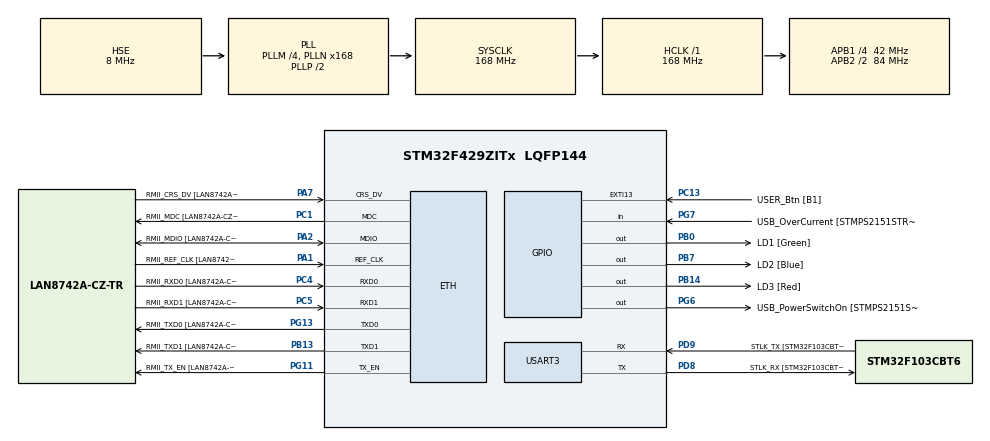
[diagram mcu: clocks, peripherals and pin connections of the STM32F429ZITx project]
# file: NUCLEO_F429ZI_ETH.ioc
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ETH.MediaInterface=HAL_ETH_RMII_MODE
ETH.PHY_SR=0x1F
FREERTOS.Tasks01=defaultTask,24,1024,StartDefaultTask,Default,NULL,Dynamic,NULL,NULL
LWIP.BSP.number=1
LWIP.GATEWAY_ADDRESS=192.168.001.122
LWIP.IP_ADDRESS=192.168.001.017
LWIP.LWIP_DHCP=0
LWIP.NETMASK_ADDRESS=255.255.254.000
LWIP.Version=v2.1.2_Cube
LWIP0.BSP.STBoard=false
LWIP0.BSP.api=BSP_COMPONENT_DRIVER
LWIP0.BSP.component=LAN8742
LWIP0.BSP.instance=LAN8742
LWIP0.BSP.name=Driver_PHY
LWIP0.BSP.semaphore=S_LAN8742
LWIP0.BSP.solution=LAN8742
Mcu.Family=STM32F4
Mcu.Name=STM32F429ZITx
Mcu.Package=LQFP144
NVIC.ETH_IRQn=true\:5\:0\:false\:false\:true\:true\:false\:true\:true
NVIC.PriorityGroup=NVIC_PRIORITYGROUP_4
NVIC.TIM6_DAC_IRQn=true\:15\:0\:false\:false\:true\:false\:false\:true\:true
NVIC.TimeBase=TIM6_DAC_IRQn
NVIC.TimeBaseIP=TIM6
PA1.GPIO_Label=RMII_REF_CLK [LAN8742A-CZ-TR_REFCLK0]
PA1.Mode=RMII
PA1.Signal=ETH_REF_CLK
PA10.GPIO_Label=USB_ID
PA10.Signal=USB_OTG_FS_ID
PA11.GPIO_Label=USB_DM
PA11.Signal=USB_OTG_FS_DM
PA12.GPIO_Label=USB_DP
PA12.Signal=USB_OTG_FS_DP
PA13.GPIO_Label=TMS
PA13.Mode=Serial_Wire
PA13.Signal=SYS_JTMS-SWDIO
PA14.GPIO_Label=TCK
PA14.Mode=Serial_Wire
PA14.Signal=SYS_JTCK-SWCLK
PA2.GPIO_Label=RMII_MDIO [LAN8742A-CZ-TR_MDIO]
PA2.Mode=RMII
PA2.Signal=ETH_MDIO
PA7.GPIO_Label=RMII_CRS_DV [LAN8742A-CZ-TR_CRS_DV]
PA7.Mode=RMII
PA7.Signal=ETH_CRS_DV
PA8.GPIO_Label=USB_SOF [TP1]
PA8.Signal=USB_OTG_FS_SOF
PA9.GPIO_Label=USB_VBUS
PA9.Signal=USB_OTG_FS_VBUS
PB0.GPIO_Label=LD1 [Green]
PB0.Signal=GPIO_Output
PB13.GPIO_Label=RMII_TXD1 [LAN8742A-CZ-TR_TXD1]
PB13.Mode=RMII
PB13.Signal=ETH_TXD1
PB14.GPIO_Label=LD3 [Red]
PB14.Signal=GPIO_Output
PB7.GPIO_Label=LD2 [Blue]
PB7.Signal=GPIO_Output
PC1.GPIO_Label=RMII_MDC [LAN8742A-CZ-TR_MDC]
PC1.Mode=RMII
PC1.Signal=ETH_MDC
PC13.GPIO_Label=USER_Btn [B1]
PC13.Signal=GPXTI13
PC14/OSC32_IN.Mode=LSE-External-Oscillator
PC14/OSC32_IN.Signal=RCC_OSC32_IN
PC15/OSC32_OUT.Mode=LSE-External-Oscillator
PC15/OSC32_OUT.Signal=RCC_OSC32_OUT
PC4.GPIO_Label=RMII_RXD0 [LAN8742A-CZ-TR_RXD0]
PC4.Mode=RMII
PC4.Signal=ETH_RXD0
PC5.GPIO_Label=RMII_RXD1 [LAN8742A-CZ-TR_RXD1]
PC5.Mode=RMII
PC5.Signal=ETH_RXD1
PD8.GPIO_Label=STLK_RX [STM32F103CBT6_PA3]
PD8.Mode=Asynchronous
PD8.Signal=USART3_TX
PD9.GPIO_Label=STLK_TX [STM32F103CBT6_PA2]
PD9.Mode=Asynchronous
PD9.Signal=USART3_RX
PG11.GPIO_Label=RMII_TX_EN [LAN8742A-CZ-TR_TXEN]
PG11.Mode=RMII
PG11.Signal=ETH_TX_EN
PG13.GPIO_Label=RMII_TXD0 [LAN8742A-CZ-TR_TXD0]
PG13.Mode=RMII
PG13.Signal=ETH_TXD0
PG6.GPIO_Label=USB_PowerSwitchOn [STMPS2151STR_EN]
PG6.Signal=GPIO_Output
PG7.GPIO_Label=USB_OverCurrent [STMPS2151STR_FAULT]
PG7.Signal=GPIO_Input
PH0/OSC_IN.GPIO_Label=MCO [STM32F103CBT6_PA8]
PH0/OSC_IN.Mode=HSE-External-Clock-Source
PH0/OSC_IN.Signal=RCC_OSC_IN
PH1/OSC_OUT.Mode=HSE-External-Clock-Source
PH1/OSC_OUT.Signal=RCC_OSC_OUT
ProjectManager.HeapSize=0x800
ProjectManager.StackSize=0x400
ProjectManager.TargetToolchain=Makefile
RCC.48MHZClocksFreq_Value=48000000
RCC.AHBFreq_Value=168000000
RCC.APB1CLKDivider=RCC_HCLK_DIV4
RCC.APB1Freq_Value=42000000
RCC.APB1TimFreq_Value=84000000
RCC.APB2CLKDivider=RCC_HCLK_DIV2
RCC.APB2Freq_Value=84000000
RCC.APB2TimCLKDivider=2
RCC.APB2TimFreq_Value=168000000
RCC.CortexFreq_Value=168000000
RCC.HCLKFreq_Value=168000000
RCC.HSE_VALUE=8000000
RCC.HSI_VALUE=16000000
RCC.PLLM=4
RCC.PLLMUL=RCC_PLL_MUL9
RCC.PLLN=168
RCC.PLLQ=7
RCC.PLLSourceVirtual=RCC_PLLSOURCE_HSE
RCC.PRESCALERUSB=RCC_USBCLKSOURCE_PLL_DIV1_5
RCC.SYSCLKFreq_VALUE=168000000
RCC.SYSCLKSource=RCC_SYSCLKSOURCE_PLLCLK
RCC.SYSCLKSourceVirtual=RCC_SYSCLKSOURCE_PLLCLK
RCC.USBFreq_Value=48000000
RCC.VCOOutputFreq_Value=336000000
USART3.VirtualMode=VM_ASYNC
VP_FREERTOS_VS_CMSIS_V2.Mode=CMSIS_V2
VP_LWIP_VS_Enabled.Mode=Enabled
VP_SYS_VS_tim6.Mode=TIM6
board=NUCLEO-F429ZI

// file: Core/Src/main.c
/* USER CODE BEGIN Header */
/**
  ******************************************************************************
  * @file           : main.c
  * @brief          : Main program body
  ******************************************************************************
  * @attention
  *
  * Copyright (c) 2022 STMicroelectronics.
  * All rights reserved.
  *
  * This software is licensed under terms that can be found in the LICENSE file
  * in the root directory of this software component.
  * If no LICENSE file comes with this software, it is provided AS-IS.
  *
  ******************************************************************************
  */
/* USER CODE END Header */
#include "main.h"
#include "cmsis_os.h"
#include "lwip.h"

/* USER CODE BEGIN Includes */
#include "tcp_echoserver.h"
#include "queue.h"
#include "mqttclient.h"
/* USER CODE END Includes */

/* USER CODE BEGIN PD */
#define  MQTT_QUEUE_LEN    4   /* 队列的长度，最大可包含多少个消息 */
#define  MQTT_QUEUE_SIZE   4   /* 队列中每个消息大小（字节） */
/* USER CODE END PD */

UART_HandleTypeDef huart3;

/* Definitions for defaultTask */
osThreadId_t defaultTaskHandle;
const osThreadAttr_t defaultTask_attributes = {
  .name = "defaultTask",
  .stack_size = 1024 * 4,
  .priority = (osPriority_t) osPriorityNormal,
};
/* USER CODE BEGIN PV */
QueueHandle_t MQTT_Data_Queue;
/* USER CODE END PV */

void SystemClock_Config(void);
static void MX_GPIO_Init(void);
static void MX_USART3_UART_Init(void);
void StartDefaultTask(void *argument);

/* USER CODE BEGIN 0 */
#ifdef __GNUC__
int _write(int file, char *ptr, int len)
{
   int i=0;
   for(i=0 ; i<len ; i++)
      ITM_SendChar((*ptr++));
   return len;
}
#else
int fputc(int c, FILE *f)
{
   ITM_SendChar(c);
   return(c);
}
#endif
/* USER CODE END 0 */

int main(void)
{

  /* MCU Configuration--------------------------------------------------------*/

  /* Reset of all peripherals, Initializes the Flash interface and the Systick. */
  HAL_Init();

  /* Configure the system clock */
  SystemClock_Config();

  /* Initialize all configured peripherals */
  MX_GPIO_Init();
  MX_USART3_UART_Init();
  /* USER CODE BEGIN 2 */
  // tcp_echoserver_init();
  /* USER CODE END 2 */

  /* Init scheduler */
  osKernelInitialize();

  /* USER CODE BEGIN RTOS_QUEUES */
  /* add queues, ... */

  MQTT_Data_Queue = xQueueCreate((UBaseType_t ) MQTT_QUEUE_LEN, (UBaseType_t ) MQTT_QUEUE_SIZE);
  if(NULL != MQTT_Data_Queue)
    printf("MQTT_Data_Queue created successfully!\r\n");
  /* USER CODE END RTOS_QUEUES */

  /* Create the thread(s) */
  /* creation of defaultTask */
  defaultTaskHandle = osThreadNew(StartDefaultTask, NULL, &defaultTask_attributes);

  /* Start scheduler */
  osKernelStart();

  /* We should never get here as control is now taken by the scheduler */
  /* Infinite loop */
  /* USER CODE BEGIN WHILE */
  while (1)
  {
    // MX_LWIP_Process();
    // HAL_GPIO_TogglePin(LD1_GPIO_Port, LD1_Pin);
    // HAL_Delay(200);
    /* USER CODE END WHILE */

  }
}

void SystemClock_Config(void)
{
  RCC_OscInitTypeDef RCC_OscInitStruct = {0};
  RCC_ClkInitTypeDef RCC_ClkInitStruct = {0};

  /** Configure the main internal regulator output voltage
  */
  __HAL_RCC_PWR_CLK_ENABLE();
  __HAL_PWR_VOLTAGESCALING_CONFIG(PWR_REGULATOR_VOLTAGE_SCALE1);

  /** Initializes the RCC Oscillators according to the specified parameters
  * in the RCC_OscInitTypeDef structure.
  */
  RCC_OscInitStruct.OscillatorType = RCC_OSCILLATORTYPE_HSE;
  RCC_OscInitStruct.HSEState = RCC_HSE_BYPASS;
  RCC_OscInitStruct.PLL.PLLState = RCC_PLL_ON;
  RCC_OscInitStruct.PLL.PLLSource = RCC_PLLSOURCE_HSE;
  RCC_OscInitStruct.PLL.PLLM = 4;
  RCC_OscInitStruct.PLL.PLLN = 168;
  RCC_OscInitStruct.PLL.PLLP = RCC_PLLP_DIV2;
  RCC_OscInitStruct.PLL.PLLQ = 7;
  if (HAL_RCC_OscConfig(&RCC_OscInitStruct) != HAL_OK)
  {
    Error_Handler();
  }

  /** Initializes the CPU, AHB and APB buses clocks
  */
  RCC_ClkInitStruct.ClockType = RCC_CLOCKTYPE_HCLK|RCC_CLOCKTYPE_SYSCLK
                              |RCC_CLOCKTYPE_PCLK1|RCC_CLOCKTYPE_PCLK2;
  RCC_ClkInitStruct.SYSCLKSource = RCC_SYSCLKSOURCE_PLLCLK;
  RCC_ClkInitStruct.AHBCLKDivider = RCC_SYSCLK_DIV1;
  RCC_ClkInitStruct.APB1CLKDivider = RCC_HCLK_DIV4;
  RCC_ClkInitStruct.APB2CLKDivider = RCC_HCLK_DIV2;

  if (HAL_RCC_ClockConfig(&RCC_ClkInitStruct, FLASH_LATENCY_5) != HAL_OK)
  {
    Error_Handler();
  }
}

static void MX_USART3_UART_Init(void)
{

  huart3.Instance = USART3;
  huart3.Init.BaudRate = 115200;
  huart3.Init.WordLength = UART_WORDLENGTH_8B;
  huart3.Init.StopBits = UART_STOPBITS_1;
  huart3.Init.Parity = UART_PARITY_NONE;
  huart3.Init.Mode = UART_MODE_TX_RX;
  huart3.Init.HwFlowCtl = UART_HWCONTROL_NONE;
  huart3.Init.OverSampling = UART_OVERSAMPLING_16;
  if (HAL_UART_Init(&huart3) != HAL_OK)
  {
    Error_Handler();
  }

}

static void MX_GPIO_Init(void)
{
  GPIO_InitTypeDef GPIO_InitStruct = {0};

  /* GPIO Ports Clock Enable */
  __HAL_RCC_GPIOC_CLK_ENABLE();
  __HAL_RCC_GPIOH_CLK_ENABLE();
  __HAL_RCC_GPIOA_CLK_ENABLE();
  __HAL_RCC_GPIOB_CLK_ENABLE();
  __HAL_RCC_GPIOD_CLK_ENABLE();
  __HAL_RCC_GPIOG_CLK_ENABLE();

  /*Configure GPIO pin Output Level */
  HAL_GPIO_WritePin(GPIOB, LD1_Pin|LD3_Pin|LD2_Pin, GPIO_PIN_RESET);

  /*Configure GPIO pin Output Level */
  HAL_GPIO_WritePin(USB_PowerSwitchOn_GPIO_Port, USB_PowerSwitchOn_Pin, GPIO_PIN_RESET);

  /*Configure GPIO pin : USER_Btn_Pin */
  GPIO_InitStruct.Pin = USER_Btn_Pin;
  GPIO_InitStruct.Mode = GPIO_MODE_IT_RISING;
  GPIO_InitStruct.Pull = GPIO_NOPULL;
  HAL_GPIO_Init(USER_Btn_GPIO_Port, &GPIO_InitStruct);

  /*Configure GPIO pins : LD1_Pin LD3_Pin LD2_Pin */
  GPIO_InitStruct.Pin = LD1_Pin|LD3_Pin|LD2_Pin;
  GPIO_InitStruct.Mode = GPIO_MODE_OUTPUT_PP;
  GPIO_InitStruct.Pull = GPIO_NOPULL;
  GPIO_InitStruct.Speed = GPIO_SPEED_FREQ_LOW;
  HAL_GPIO_Init(GPIOB, &GPIO_InitStruct);

  /*Configure GPIO pin : USB_PowerSwitchOn_Pin */
  GPIO_InitStruct.Pin = USB_PowerSwitchOn_Pin;
  GPIO_InitStruct.Mode = GPIO_MODE_OUTPUT_PP;
  GPIO_InitStruct.Pull = GPIO_NOPULL;
  GPIO_InitStruct.Speed = GPIO_SPEED_FREQ_LOW;
  HAL_GPIO_Init(USB_PowerSwitchOn_GPIO_Port, &GPIO_InitStruct);

  /*Configure GPIO pin : USB_OverCurrent_Pin */
  GPIO_InitStruct.Pin = USB_OverCurrent_Pin;
  GPIO_InitStruct.Mode = GPIO_MODE_INPUT;
  GPIO_InitStruct.Pull = GPIO_NOPULL;
  HAL_GPIO_Init(USB_OverCurrent_GPIO_Port, &GPIO_InitStruct);

  /*Configure GPIO pins : USB_SOF_Pin USB_ID_Pin USB_DM_Pin USB_DP_Pin */
  GPIO_InitStruct.Pin = USB_SOF_Pin|USB_ID_Pin|USB_DM_Pin|USB_DP_Pin;
  GPIO_InitStruct.Mode = GPIO_MODE_AF_PP;
  GPIO_InitStruct.Pull = GPIO_NOPULL;
  GPIO_InitStruct.Speed = GPIO_SPEED_FREQ_VERY_HIGH;
  GPIO_InitStruct.Alternate = GPIO_AF10_OTG_FS;
  HAL_GPIO_Init(GPIOA, &GPIO_InitStruct);

  /*Configure GPIO pin : USB_VBUS_Pin */
  GPIO_InitStruct.Pin = USB_VBUS_Pin;
  GPIO_InitStruct.Mode = GPIO_MODE_INPUT;
  GPIO_InitStruct.Pull = GPIO_NOPULL;
  HAL_GPIO_Init(USB_VBUS_GPIO_Port, &GPIO_InitStruct);

}

void StartDefaultTask(void *argument)
{
  /* init code for LWIP */
  MX_LWIP_Init();
  /* USER CODE BEGIN 5 */

  mqtt_thread_init();
  /* Infinite loop */
  for(;;)
  {
    // HAL_GPIO_TogglePin(LD1_GPIO_Port, LD1_Pin);
    // vTcpServerTask();
    osDelay(100);
  }
  /* USER CODE END 5 */
}

void HAL_TIM_PeriodElapsedCallback(TIM_HandleTypeDef *htim)
{
  if (htim->Instance == TIM6) {
    HAL_IncTick();
  }
}

void Error_Handler(void)
{
  __disable_irq();
  while (1)
  {
  }
}
